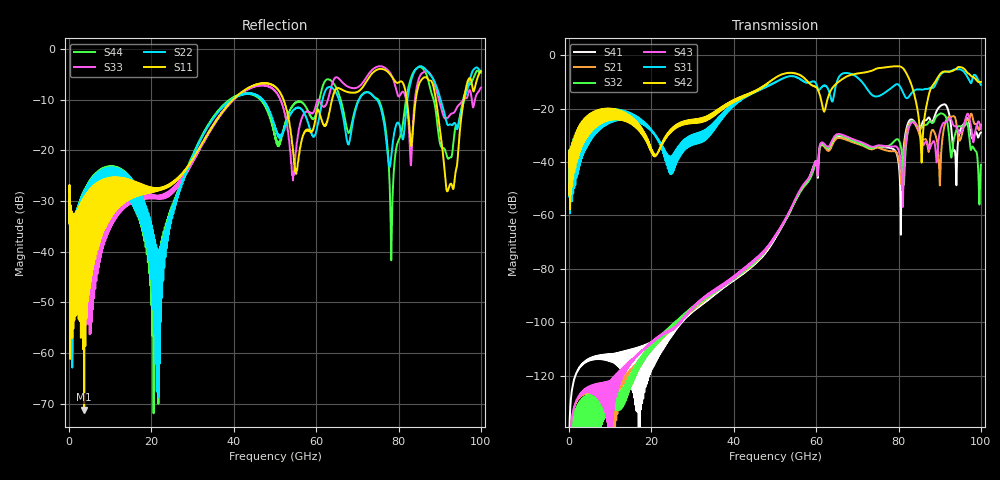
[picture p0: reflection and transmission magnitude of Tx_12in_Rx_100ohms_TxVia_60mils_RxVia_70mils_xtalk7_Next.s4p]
! Info: Touchstone file created by Circ.  Input file=Tx_12in_Rx_100ohms_TxVia_60mils_RxVia_70mils.circ
# Hz S RI R 50
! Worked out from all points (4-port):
!   10000 points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, 10 MHz to 100 GHz, reference 50 ohm
!   strongest paths, dB at 10 MHz, 25.01 GHz, 50.01 GHz, 75.01 GHz, 100 GHz:
!     S42: -52.3, -27.3, -8.5, -4.9, -10.0
!     S31: -52.9, -38.3, -10.1, -15.4, -11.1
!     S43: -154.7, -102.4, -68.1, -33.8, -27.4
!     S32: -170.3, -101.1, -68.1, -34.1, -41.1
!     S21: -167.3, -102.0, -68.1, -34.7, -26.0
!     S41: -150.4, -102.0, -68.8, -34.3, -29.0
!   lowest |S11| = -71.1 dB at 3.67 GHz (marker M1), VSWR 1.00, Z = 50 + j0.00722 ohm
!   |S11| at or under -10 dB: start of sweep to 39.8 GHz; 52.09 GHz to 63.85 GHz (11.76 GHz wide, 20.3 % of centre); 89.08 GHz to 95.87 GHz (6.788 GHz wide, 7.34 % of centre)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
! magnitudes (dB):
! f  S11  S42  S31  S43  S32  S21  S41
! 10 MHz  -34.4  -52.3  -52.9  -154.7  -170.3  -167.3  -150.4
! 3.67 GHz  -71.1  -32.5  -36.4  -125.3  -136.3  -125.8  -114.9
! 21.25 GHz  -27.8  -37.1  -30.7  -105.8  -106.5  -108.2  -112.5
! 43.83 GHz  -7.6  -14.7  -14.9  -78.2  -78.9  -79.3  -79.5
! 65.24 GHz  -7.7  -10.2  -9.1  -29.5  -29.9  -31.0  -30.6
! 78.27 GHz  -5.3  -4.3  -12.2  -34.3  -33.3  -36.0  -34.9
! 100 GHz  -4.4  -10.0  -11.1  -27.4  -41.1  -26.0  -29.0
